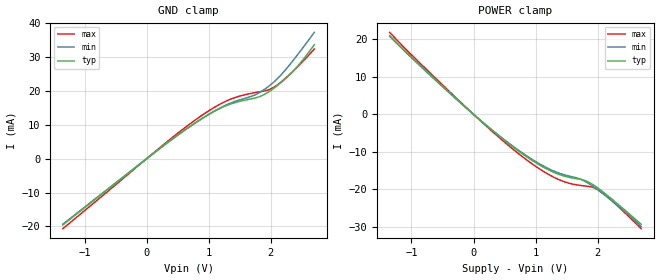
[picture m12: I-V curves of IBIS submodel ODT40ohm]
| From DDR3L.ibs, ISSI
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|   Submodel odt40ohm
[Submodel]  ODT40ohm
Submodel_type Dynamic_clamp
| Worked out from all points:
|   GND clamp passes 1 mA (typ) near -0.07 V on its own axis
|   POWER clamp passes 1 mA (typ) near -0.07 V on its own axis
[GND Clamp]
|Voltage   I(typ)   I(min)   I(max)
-1.35V    -19.58mA   -19.37mA   -20.68mA
250mV     3.567mA    3.519mA    3.826mA
600mV     8.296mA    8.219mA    8.922mA
900mV     11.97mA    11.93mA    12.92mA
1.15V     14.57mA    14.65mA    15.79mA
1.35V     16.13mA    16.4mA     17.56mA
1.75V     17.93mA    18.88mA    19.53mA
1.95V     19.56mA    21.16mA    20.26mA
2.1V      21.53mA    23.53mA    21.74mA
2.35V     25.64mA    28.81mA    25.69mA
2.5V      28.83mA    32.38mA    28.44mA
2.7V      33.64mA    37.3mA     32.39mA
[POWER Clamp]
|Voltage   I(typ)   I(min)   I(max)
-1.35V    21.01mA    20.8mA     21.87mA
-150mV    2.217mA    2.176mA    2.338mA
350mV     -4.965mA   -4.857mA   -5.277mA
750mV     -10.1mA    -9.877mA   -10.81mA
1.05V     -13.39mA   -13.09mA   -14.41mA
1.35V     -15.86mA   -15.52mA   -17.23mA
1.55V     -16.84mA   -16.51mA   -18.42mA
1.75V     -17.42mA   -17.5mA    -19.02mA
1.9V      -18.52mA   -18.96mA   -19.37mA
2V        -19.63mA   -20.13mA   -20.1mA
2.25V     -22.91mA   -23.34mA   -23.4mA
2.7V      -29.36mA   -29.96mA   -30.5mA
